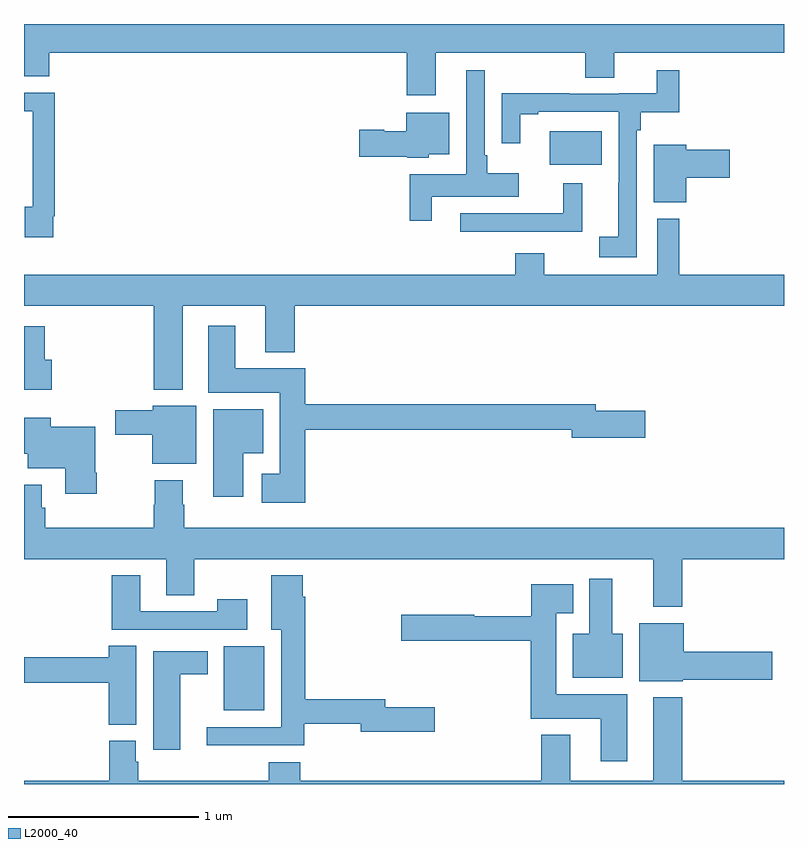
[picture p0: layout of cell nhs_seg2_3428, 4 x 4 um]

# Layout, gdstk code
import gdstk
lib = gdstk.Library(unit=1e-6, precision=1e-09)
def R(c, l, rs):  # rectangles x0, y0, x1, y1
    for r in rs: c.add(gdstk.rectangle(r[:2], r[2:], *l))
def P(c, l, *ps):  # polygons
    for p in ps: c.add(gdstk.Polygon(p, *l))
L2000_40 = (2000, 40)

nhs_seg2_3428 = lib.new_cell('nhs_seg2_3428')
R(nhs_seg2_3428, L2000_40, [(292.052,632.189,292.264,632.524), (293.768,635.06,294.04,635.236)])
P(nhs_seg2_3428, L2000_40, [(293.167,635.648),(293.954,635.648),(293.954,635.518),(294.106,635.518),(294.106,635.648),(295,635.648),(295,635.8),(291,635.8),(291,635.524),(291.134,635.524),(291.134,635.648),(293.015,635.648),(293.015,635.424),(293.167,635.424)],
  [(293.146,634.892),(293.605,634.892),(293.605,635.014),(293.437,635.014),(293.437,635.11),(293.424,635.11),(293.424,635.557),(293.328,635.557),(293.328,635.008),(293.029,635.008),(293.029,634.764),(293.146,634.764)],
  [(294.225,635.24),(294.245,635.24),(294.245,635.336),(294.449,635.336),(294.449,635.557),(294.331,635.557),(294.331,635.435),(294.132,635.435),(294.132,635.433),(293.87,635.433),(293.87,635.435),(293.514,635.435),(293.514,635.172),(293.611,635.172),(293.611,635.325),(293.707,635.325),(293.707,635.337),(294.129,635.337),(294.129,634.964),(294.128,634.964),(294.128,634.681),(294.027,634.681),(294.027,634.572),(294.225,634.572)],
  [(291.154,634.789),(291.161,634.789),(291.161,635.439),(291,635.439),(291,635.342),(291.045,635.342),(291.045,634.838),(291.005,634.838),(291.005,634.677),(291.154,634.677)],
  [(293.13,635.114),(293.239,635.114),(293.239,635.332),(293.012,635.332),(293.012,635.236),(292.896,635.236),(292.896,635.244),(292.764,635.244),(292.764,635.102),(293.016,635.102),(293.016,635.096),(293.13,635.096)],
  [(294.485,634.991),(294.715,634.991),(294.715,635.138),(294.485,635.138),(294.485,635.164),(294.314,635.164),(294.314,634.861),(294.485,634.861)],
  [(293.939,634.963),(293.839,634.963),(293.839,634.803),(293.295,634.803),(293.295,634.707),(293.939,634.707)],
  [(295,634.48),(294.449,634.48),(294.449,634.776),(294.333,634.776),(294.333,634.48),(293.737,634.48),(293.737,634.594),(293.585,634.594),(293.585,634.48),(291,634.48),(291,634.316),(291.683,634.316),(291.683,633.875),(291.835,633.875),(291.835,634.316),(292.271,634.316),(292.271,634.073),(292.424,634.073),(292.424,634.316),(295,634.316)],
  [(292.481,633.664),(293.882,633.664),(293.882,633.622),(294.271,633.622),(294.271,633.764),(294.01,633.764),(294.01,633.8),(292.481,633.8),(292.481,633.988),(292.111,633.988),(292.111,634.213),(291.971,634.213),(291.971,633.86),(292.346,633.86),(292.346,633.433),(292.251,633.433),(292.251,633.281),(292.481,633.281)],
  [(291.145,634.033),(291.11,634.033),(291.11,634.21),(291,634.21),(291,633.875),(291.145,633.875)],
  [(291.907,633.79),(291.678,633.79),(291.678,633.766),(291.48,633.766),(291.48,633.637),(291.674,633.637),(291.674,633.485),(291.907,633.485)],
  [(292.153,633.542),(292.258,633.542),(292.258,633.772),(291.995,633.772),(291.995,633.312),(292.153,633.312)],
  [(291.384,633.439),(291.376,633.439),(291.376,633.679),(291.142,633.679),(291.142,633.727),(291,633.727),(291,633.539),(291.02,633.539),(291.02,633.461),(291.218,633.461),(291.218,633.327),(291.384,633.327)],
  [(294.464,632.984),(295,632.984),(295,633.148),(291.843,633.148),(291.843,633.269),(291.835,633.269),(291.835,633.4),(291.688,633.4),(291.688,633.269),(291.683,633.269),(291.683,633.148),(291.113,633.148),(291.113,633.255),(291.093,633.255),(291.093,633.376),(291,633.376),(291,632.984),(291.749,632.984),(291.749,632.794),(291.897,632.794),(291.897,632.984),(294.311,632.984),(294.311,632.732),(294.464,632.732)],
  [(292.476,632.118),(292.772,632.118),(292.772,632.075),(293.161,632.075),(293.161,632.205),(292.9,632.205),(292.9,632.246),(292.481,632.246),(292.481,632.786),(292.468,632.786),(292.468,632.899),(292.301,632.899),(292.301,632.612),(292.355,632.612),(292.355,632.1),(291.963,632.1),(291.963,632.003),(292.476,632.003)],
  [(292.174,632.773),(292.018,632.773),(292.018,632.709),(291.613,632.709),(291.613,632.899),(291.461,632.899),(291.461,632.613),(292.174,632.613)],
  [(294.151,632.59),(294.097,632.59),(294.097,632.881),(293.975,632.881),(293.975,632.59),(293.888,632.59),(293.888,632.36),(294.151,632.36)],
  [(294.175,632.272),(293.8,632.272),(293.8,632.699),(293.89,632.699),(293.89,632.851),(293.671,632.851),(293.671,632.683),(293.37,632.683),(293.37,632.691),(292.986,632.691),(292.986,632.554),(293.666,632.554),(293.666,632.144),(294.035,632.144),(294.035,631.92),(294.175,631.92)],
  [(294.468,632.348),(294.937,632.348),(294.937,632.495),(294.472,632.495),(294.472,632.647),(294.239,632.647),(294.239,632.342),(294.468,632.342)],
  [(291.592,632.528),(291.446,632.528),(291.446,632.468),(291,632.468),(291,632.332),(291.446,632.332),(291.446,632.113),(291.592,632.113)],
  [(291.823,632.378),(291.967,632.378),(291.967,632.5),(291.68,632.5),(291.68,631.98),(291.823,631.98)],
  [(291.589,631.917),(291.589,632.028),(291.449,632.028),(291.449,631.816),(291,631.816),(291,631.8),(295,631.8),(295,631.816),(294.464,631.816),(294.464,632.257),(294.311,632.257),(294.311,631.816),(293.875,631.816),(293.875,632.059),(293.723,632.059),(293.723,631.816),(292.454,631.816),(292.454,631.915),(292.289,631.915),(292.289,631.816),(291.602,631.816),(291.602,631.917)])

lib.write_gds('nhs_seg2_3428.gds')
